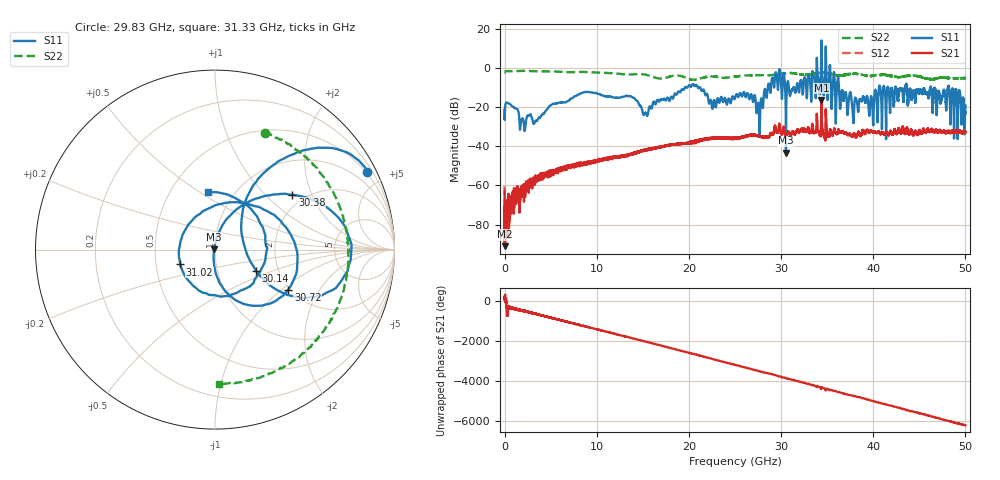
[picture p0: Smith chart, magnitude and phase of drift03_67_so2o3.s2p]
!Created with skrf (http://scikit-rf.org).
# Hz S RI R 50.0
!freq ReS11 ImS11 ReS21 ImS21 ReS12 ImS12 ReS22 ImS22
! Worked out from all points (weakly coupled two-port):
!   10001 points, 300 kHz to 50 GHz, reference 50 ohm
!   highest |S21| = -16.21 dB at 34.37 GHz (marker M1); lowest = -91.1 dB at 20.3 MHz (marker M2)
!   lowest |S11| = -43.2 dB at 30.53 GHz (marker M3), VSWR 1.01, Z = 49.3 + j0.18 ohm
!   |S11| at or under -10 dB: start of sweep to 19.55 GHz; 21.25 GHz to 28.55 GHz (7.298 GHz wide, 29.3 % of centre); 36.28 GHz to 40.61 GHz (4.332 GHz wide, 11.3 % of centre) (the widest 3 of 34)
!   |S22| runs from -5.9 to -1.3 dB; largest |S21 - S12| = 0.028
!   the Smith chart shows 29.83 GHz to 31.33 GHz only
!   S11 on the Smith chart (normalised r, x): 29.83 GHz: 0.46, +4.08; 30.14 GHz: 1.53, -0.39; 30.38 GHz: 1.73, +1.47; 30.72 GHz: 1.96, -1.11; 31.02 GHz: 0.67, -0.12; 31.33 GHz: 0.75, +0.54
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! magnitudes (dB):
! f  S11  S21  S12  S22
! 300 kHz  -21.2  -62.7  -60.4  -2.1
! 20.3 MHz  -24.0  -91.1  -78.9  -2.0
! 3.3 GHz  -27.3  -57.7  -56.7  -1.5
! 8.335 GHz  -12.7  -48.8  -49.1  -1.9
! 15.28 GHz  -22.7  -41.9  -41.9  -3.3
! 16.67 GHz  -16.5  -40.6  -40.5  -5.2
! 20.26 GHz  -9.1  -37.7  -38.0  -5.8
! 22.71 GHz  -16.5  -35.6  -35.5  -4.2
! 25 GHz  -15.3  -35.5  -36.1  -4.3
! 27.53 GHz  -17.9  -34.4  -34.5  -3.5
! 29.83 GHz  -0.4  -29.4  -28.7  -3.0
! 30.14 GHz  -11.8  -33.4  -33.5  -2.8
! 30.38 GHz  -5.5  -32.1  -32.5  -2.6
! 30.53 GHz  -43.2  -34.1  -34.2  -2.5
! 30.72 GHz  -6.7  -32.8  -32.7  -2.4
! 31.02 GHz  -13.5  -34.1  -34.2  -2.4
! 31.33 GHz  -9.8  -32.4  -32.4  -2.5
! 33.34 GHz  -7.5  -31.1  -31.2  -2.9
! 34.37 GHz  14.2  -16.2  -17.5  -2.3
! 37.87 GHz  -27.9  -33.8  -34.2  -2.9
! 41.67 GHz  -11.2  -34.4  -34.1  -3.8
! 50 GHz  -19.0  -32.5  -32.6  -5.0
